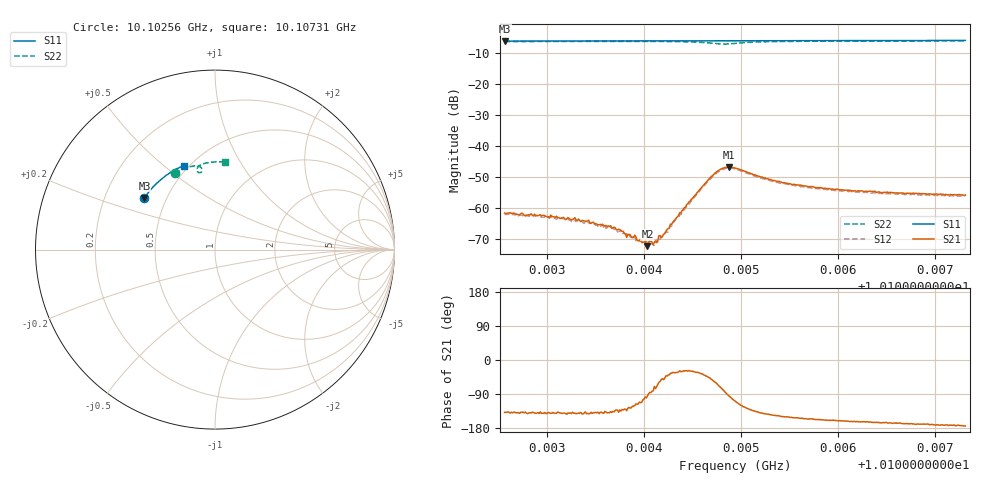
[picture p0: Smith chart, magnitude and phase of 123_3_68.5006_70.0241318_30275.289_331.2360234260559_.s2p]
#  HZ  S  RI  R  50.00
! Rohde & Schwarz Vector Network Analyzer
! Rohde-Schwarz,ZNB20-2Port,1311601062101988,3.16
! Created: UTC 3/20/2024, 4:54:04 PM
! freq[Hz]  re:S11  im:S11  re:S21  im:S21  re:S12  im:S12  re:S22  im:S22
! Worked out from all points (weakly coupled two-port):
!   401 points, 10.10256 GHz to 10.10731 GHz, reference 50 ohm
!   highest |S21| = -46.77 dB at 10.10488 GHz (marker M1); lowest = -72.2 dB at 10.10403 GHz (marker M2)
!   lowest |S11| = -6.2 dB at 10.10256 GHz (marker M3), VSWR 2.90, Z = 18.9 + j14.2 ohm
!   |S11| at or under -10 dB: nowhere
!   |S22| runs from -7.2 to -6.2 dB; largest |S21 - S12| = 0.00047
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1.0102564e10  -0.3929 0.2878  -0.000621 -0.000556  -0.000517 -0.000582  -0.2235 0.4241
1.0102896e10  -0.3814 0.3045  -0.000587 -0.000491  -0.000544 -0.000525  -0.2043 0.4348
1.0103358e10  -0.3643 0.3269  -0.000496 -0.00039  -0.000454 -0.000421  -0.1763 0.448
1.0103679e10  -0.3517 0.3416  -0.000344 -0.000336  -0.000301 -0.000358  -0.1555 0.4561
1.0103987e10  -0.3389 0.3554  -7.56e-05 -0.000275  -7e-05 -0.000253  -0.1339 0.4627
1.0104034e10  -0.3369 0.3575  -2.14e-05 -0.000243  2.89e-06 -0.000273  -0.1304 0.4636
1.0104094e10  -0.3344 0.3602  3.92e-05 -0.000255  7.69e-05 -0.000244  -0.1258 0.4646
1.0104118e10  -0.3334 0.3611  7.32e-05 -0.000287  0.000128 -0.000247  -0.1239 0.465
1.0104153e10  -0.3319 0.3627  0.000187 -0.000309  0.000198 -0.000239  -0.1211 0.4654
1.0104201e10  -0.3299 0.3646  0.000236 -0.000301  0.000273 -0.000252  -0.1171 0.466
1.010426e10  -0.3272 0.3672  0.000374 -0.000304  0.000404 -0.000262  -0.1122 0.4665
1.0104319e10  -0.3247 0.3697  0.000543 -0.000358  0.000565 -0.000323  -0.1067 0.467
1.0104461e10  -0.3185 0.3755  0.00111 -0.00058  0.00107 -0.000456  -0.0927 0.4654
1.0104687e10  -0.308 0.3846  0.00206 -0.00241  0.00214 -0.00211  -0.0718 0.4465
1.0104782e10  -0.3038 0.3884  0.00138 -0.00395  0.00162 -0.00367  -0.0766 0.4317
1.0104877e10  -0.2995 0.3918  -0.000449 -0.00457  -1.38e-05 -0.00438  -0.0924 0.4299
1.0104936e10  -0.2968 0.3941  -0.00139 -0.00419  -0.00101 -0.00414  -0.0991 0.4368
1.0105339e10  -0.2778 0.4094  -0.0023 -0.00157  -0.00207 -0.00165  -0.0781 0.4728
1.010573e10  -0.2582 0.423  -0.00201 -0.000927  -0.00183 -0.000995  -0.0484 0.4825
1.0106169e10  -0.2358 0.4372  -0.00182 -0.000594  -0.00169 -0.000698  -0.0178 0.4871
1.0106525e10  -0.2169 0.4478  -0.00174 -0.000436  -0.00162 -0.00056  0.00623 0.4887
1.0107308e10  -0.174 0.4678  -0.00161 -0.000167  -0.00152 -0.000338  0.0574 0.4876
